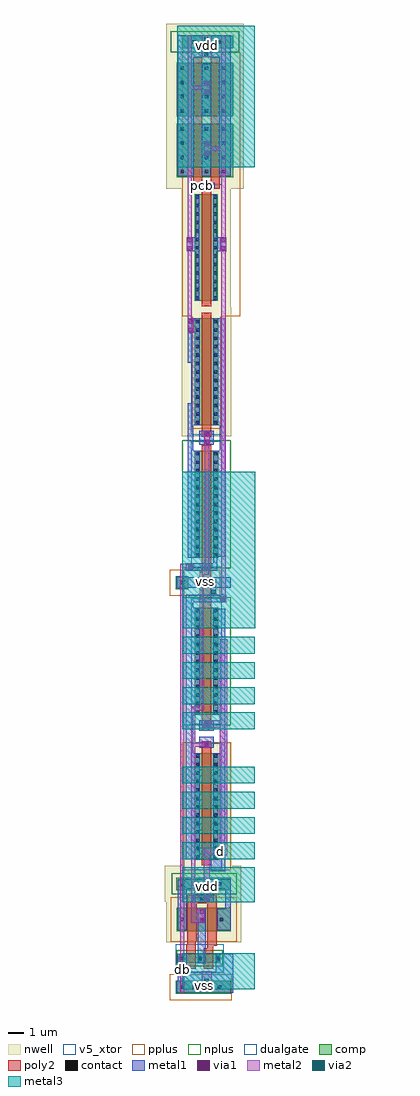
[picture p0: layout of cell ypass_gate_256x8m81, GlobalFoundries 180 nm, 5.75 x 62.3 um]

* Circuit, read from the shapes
.subckt ypass_gate_256x8m81 b bb d db pcb vdd vss ypass
XM1 nmos_5p0431059087811_256x8m81_23/D ypass vss vss nfet_05v0 w=0.57u l=0.6u m=2
XM2 d ypass b vss nfet_05v0 w=6.81u l=0.6u
XM3 db ypass bb vss nfet_05v0 w=6.81u l=0.6u
XM4 nmos_5p0431059087811_256x8m81_23/D ypass vdd vdd pfet_03v3 w=1.485u l=0.6u m=2
XM5 b pcb vdd vdd pfet_03v3 w=3.41u l=0.6u m=2
XM6 bb pcb vdd vdd pfet_03v3 w=3.41u l=0.6u m=2
XM7 b pcb bb vdd pfet_05v0 w=6.81u l=0.6u
XM8 d nmos_5p0431059087811_256x8m81_23/D b vdd pfet_05v0 w=6.81u l=0.6u
XM9 db nmos_5p0431059087811_256x8m81_23/D bb vdd pfet_05v0 w=6.81u l=0.6u
.ends

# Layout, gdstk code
from math import pi, radians
import gdstk
lib = gdstk.Library(unit=1e-6, precision=1e-09)
def R(c, l, rs):  # rectangles x0, y0, x1, y1
    for r in rs: c.add(gdstk.rectangle(r[:2], r[2:], *l))
def A(c, l, x, y, w, h, nx, ny, dx, dy):  # array of equal rectangles
    R(c, l, [(x+i*dx, y+j*dy, x+i*dx+w, y+j*dy+h) for i in range(nx) for j in range(ny)])
def P(c, l, *ps):  # polygons
    for p in ps: c.add(gdstk.Polygon(p, *l))
nwell = (21, 0)
comp = (22, 0)
poly2 = (30, 0)
pplus = (31, 0)
nplus = (32, 0)
contact = (33, 0)
metal1 = (34, 0)
via1 = (35, 0)
metal2 = (36, 0)
via2 = (38, 0)
metal3 = (42, 0)
dualgate = (55, 0)
v5_xtor = (112, 1)

m3_m2431059087811_256x8m = lib.new_cell('M3_M2431059087811_256x8m81')
R(m3_m2431059087811_256x8m, metal2, [(-0.19,-0.45,0.19,0.45)])
R(m3_m2431059087811_256x8m, via2, [(-0.13,-0.39,0.13,-0.13), (-0.13,0.13,0.13,0.39)])
R(m3_m2431059087811_256x8m, metal3, [(-0.19,-0.45,0.19,0.45)])

m2_m14310590878116_256x8 = lib.new_cell('M2_M14310590878116_256x8m81')
R(m2_m14310590878116_256x8, metal1, [(-0.19,-0.19,0.19,0.19)])
R(m2_m14310590878116_256x8, via1, [(-0.13,-0.13,0.13,0.13)])
R(m2_m14310590878116_256x8, metal2, [(-0.19,-0.19,0.19,0.19)])

m2_m14310590878119_256x8 = lib.new_cell('M2_M14310590878119_256x8m81')
R(m2_m14310590878119_256x8, metal1, [(-0.19,-0.45,0.19,0.45)])
R(m2_m14310590878119_256x8, via1, [(-0.13,-0.39,0.13,-0.13), (-0.13,0.13,0.13,0.39)])
R(m2_m14310590878119_256x8, metal2, [(-0.19,-0.45,0.19,0.45)])

m1_poly24310590878126_25 = lib.new_cell('M1_POLY24310590878126_256x8m81')
R(m1_poly24310590878126_25, poly2, [(-0.68,-0.21,0.68,0.21)])
A(m1_poly24310590878126_25, contact, -0.58, -0.11, 0.22, 0.22, 3, 1, 0.47, 0)
R(m1_poly24310590878126_25, metal1, [(-0.64,-0.17,0.64,0.17)])

m1_poly24310590878127_25 = lib.new_cell('M1_POLY24310590878127_256x8m81')
R(m1_poly24310590878127_25, poly2, [(-0.21,-0.21,0.21,0.21)])
R(m1_poly24310590878127_25, contact, [(-0.11,-0.11,0.11,0.11)])
R(m1_poly24310590878127_25, metal1, [(-0.17,-0.17,0.17,0.17)])

pmos_5p0431059087810_256 = lib.new_cell('pmos_5p0431059087810_256x8m81')
R(pmos_5p0431059087810_256, nwell, [(-1.04,-0.6,1.64,7.41)])
R(pmos_5p0431059087810_256, comp, [(-0.44,0,1.04,6.81), (-0.44,0,-0.08,6.81), (0.68,0,1.04,6.81)])
R(pmos_5p0431059087810_256, poly2, [(0,-0.22,0.6,7.03), (0,6.81,0.6,7.03)])
R(pmos_5p0431059087810_256, pplus, [(-0.6,-0.23,1.2,7.04)])
A(pmos_5p0431059087810_256, contact, -0.37, 0.07, 0.22, 0.22, 1, 7, 0, 0.54)
A(pmos_5p0431059087810_256, contact, 0.75, 0.07, 0.22, 0.22, 1, 7, 0, 0.54)
A(pmos_5p0431059087810_256, contact, -0.37, 3.845, 0.22, 0.22, 1, 6, 0, 0.535)
A(pmos_5p0431059087810_256, contact, 0.75, 3.845, 0.22, 0.22, 1, 6, 0, 0.535)
R(pmos_5p0431059087810_256, metal1, [(-0.375,0,-0.145,6.81), (-0.375,0,-0.145,6.81), (0.745,0,0.975,6.81), (0.745,0,0.975,6.81)])
R(pmos_5p0431059087810_256, dualgate, [(-0.68,-0.62,1.28,7.43)])
R(pmos_5p0431059087810_256, v5_xtor, [(-0.68,-0.62,1.28,7.43)])
pmos_5p0431059087810_256.add(gdstk.Label('S', (-0.26,3.405), layer=34, texttype=0))
pmos_5p0431059087810_256.add(gdstk.Label('D', (0.86,3.405), layer=34, texttype=0))

pmos_1p2__46889004_256x8 = lib.new_cell('pmos_1p2$$46889004_256x8m81')
R(pmos_1p2__46889004_256x8, nwell, [(-1.43,-0.71,1.715,7.51)])
R(pmos_1p2__46889004_256x8, poly2, [(-0.155,-0.37,0.445,-0.005), (-0.155,6.805,0.445,7.165)])
R(pmos_1p2__46889004_256x8, pplus, [(-1.145,-0.685,1.43,7.485)])
pmos_1p2__46889004_256x8.add(gdstk.Reference(pmos_5p0431059087810_256, (-0.155,0)))

m1_nwell__47121452_256x8 = lib.new_cell('M1_NWELL$$47121452_256x8m81')
R(m1_nwell__47121452_256x8, nwell, [(-2.29,-1.14,2.29,1.14)])
R(m1_nwell__47121452_256x8, comp, [(-1.575,-0.4,1.575,0.4)])
R(m1_nwell__47121452_256x8, nplus, [(-1.84,-0.675,1.84,0.675)])
A(m1_nwell__47121452_256x8, contact, -1.295, -0.11, 0.22, 0.22, 4, 1, 0.79, 0)
R(m1_nwell__47121452_256x8, metal1, [(-1.475,-0.3,1.475,0.3)])

m1_psub__45111340_256x8m = lib.new_cell('M1_PSUB$$45111340_256x8m81')
R(m1_psub__45111340_256x8m, comp, [(-0.4,-0.415,0.4,0.415)])
R(m1_psub__45111340_256x8m, pplus, [(-0.795,-0.82,0.795,0.82)])
R(m1_psub__45111340_256x8m, contact, [(-0.11,-0.11,0.11,0.11)])
R(m1_psub__45111340_256x8m, metal1, [(-0.355,-0.37,0.355,0.37)])

nmos_5p0431059087811_256 = lib.new_cell('nmos_5p0431059087811_256x8m81')
A(nmos_5p0431059087811_256, comp, -0.44, 0, 0.36, 0.57, 3, 1, 1.12, 0)
R(nmos_5p0431059087811_256, comp, [(-0.44,0,2.16,0.57)])
R(nmos_5p0431059087811_256, poly2, [(0,-0.22,0.6,0.79), (1.12,-0.22,1.72,0.79), (0,0.57,0.6,0.79), (1.12,0.57,1.72,0.79)])
R(nmos_5p0431059087811_256, nplus, [(-0.6,-0.23,2.32,0.8)])
A(nmos_5p0431059087811_256, contact, -0.37, 0.175, 0.22, 0.22, 3, 1, 1.12, 0)
R(nmos_5p0431059087811_256, metal1, [(-0.375,0,-0.145,0.57), (-0.375,0,-0.145,0.57), (0.745,0,0.975,0.57), (0.745,0,0.975,0.57), (1.865,0,2.095,0.57), (1.865,0,2.095,0.57)])
R(nmos_5p0431059087811_256, dualgate, [(-0.68,-0.62,2.4,1.19)])
R(nmos_5p0431059087811_256, v5_xtor, [(-0.68,-0.62,2.4,1.19)])
nmos_5p0431059087811_256.add(gdstk.Label('S', (-0.26,0.285), layer=34, texttype=0))
nmos_5p0431059087811_256.add(gdstk.Label('S', (1.98,0.285), layer=34, texttype=0))
nmos_5p0431059087811_256.add(gdstk.Label('D', (0.86,0.285), layer=34, texttype=0))

via2_r90_256x8m81 = lib.new_cell('via2_R90_256x8m81')
P(via2_r90_256x8m81, metal2, [(0,-0.005),(0,0.27),(-0.005,0.27),(-0.005,0.33),(0,0.33),(0,0.635),(0.465,0.635),(0.465,-0.005)])
R(via2_r90_256x8m81, via2, [(0.1,0.2,0.36,0.46)])
R(via2_r90_256x8m81, metal3, [(0,-0.005,0.465,0.64)])

via1_r90_256x8m81 = lib.new_cell('via1_R90_256x8m81')
R(via1_r90_256x8m81, metal1, [(0,0,0.465,0.64)])
R(via1_r90_256x8m81, via1, [(0.1,0.2,0.36,0.46)])
R(via1_r90_256x8m81, metal2, [(0,0,0.465,0.635)])

via1_2_256x8m81 = lib.new_cell('via1_2_256x8m81')
via1_2_256x8m81.add(gdstk.Reference(via2_r90_256x8m81, (0,0)))
via1_2_256x8m81.add(gdstk.Reference(via1_r90_256x8m81, (0,0)))

m1_nwell__46277676_256x8 = lib.new_cell('M1_NWELL$$46277676_256x8m81')
R(m1_nwell__46277676_256x8, nwell, [(-1.895,-1.14,1.895,1.14)])
R(m1_nwell__46277676_256x8, comp, [(-1.18,-0.4,1.18,0.4)])
R(m1_nwell__46277676_256x8, nplus, [(-1.445,-0.675,1.445,0.675)])
A(m1_nwell__46277676_256x8, contact, -0.9, -0.11, 0.22, 0.22, 3, 1, 0.79, 0)
R(m1_nwell__46277676_256x8, metal1, [(-1.08,-0.3,1.08,0.3)])

nmos_5p0431059087812_256 = lib.new_cell('nmos_5p0431059087812_256x8m81')
R(nmos_5p0431059087812_256, comp, [(-0.44,0,1.04,6.81), (-0.44,0,-0.08,6.81), (0.68,0,1.04,6.81)])
R(nmos_5p0431059087812_256, poly2, [(0,-0.22,0.6,7.03), (0,6.81,0.6,7.03)])
R(nmos_5p0431059087812_256, nplus, [(-0.6,-0.23,1.2,7.04)])
A(nmos_5p0431059087812_256, contact, -0.37, 0.07, 0.22, 0.22, 1, 7, 0, 0.54)
A(nmos_5p0431059087812_256, contact, 0.75, 0.07, 0.22, 0.22, 1, 7, 0, 0.54)
A(nmos_5p0431059087812_256, contact, -0.37, 3.845, 0.22, 0.22, 1, 6, 0, 0.535)
A(nmos_5p0431059087812_256, contact, 0.75, 3.845, 0.22, 0.22, 1, 6, 0, 0.535)
R(nmos_5p0431059087812_256, metal1, [(-0.375,0,-0.145,6.81), (-0.375,0,-0.145,6.81), (0.745,0,0.975,6.81), (0.745,0,0.975,6.81)])
R(nmos_5p0431059087812_256, dualgate, [(-0.68,-0.62,1.28,7.43)])
R(nmos_5p0431059087812_256, v5_xtor, [(-0.68,-0.62,1.28,7.43)])
nmos_5p0431059087812_256.add(gdstk.Label('S', (-0.26,3.405), layer=34, texttype=0))
nmos_5p0431059087812_256.add(gdstk.Label('D', (0.86,3.405), layer=34, texttype=0))

nmos_1p2__47119404_256x8 = lib.new_cell('nmos_1p2$$47119404_256x8m81')
R(nmos_1p2__47119404_256x8, poly2, [(-0.155,-0.37,0.445,-0.005), (-0.155,6.805,0.445,7.17)])
R(nmos_1p2__47119404_256x8, nplus, [(-1.145,-0.685,1.43,7.485)])
nmos_1p2__47119404_256x8.add(gdstk.Reference(nmos_5p0431059087812_256, (-0.155,0)))

m1_psub__47122476_256x8m = lib.new_cell('M1_PSUB$$47122476_256x8m81')
R(m1_psub__47122476_256x8m, comp, [(-1.585,-0.415,1.585,0.41)])
R(m1_psub__47122476_256x8m, pplus, [(-1.98,-0.82,1.98,0.82)])
A(m1_psub__47122476_256x8m, contact, -1.295, -0.11, 0.22, 0.22, 4, 1, 0.79, 0)
R(m1_psub__47122476_256x8m, metal1, [(-1.54,-0.37,1.54,0.37)])

ypass_gate_256x8m81 = lib.new_cell('ypass_gate_256x8m81')
R(ypass_gate_256x8m81, nwell, [(-0.025,35.54,3.12,43.76), (-0.035,43.475,3.11,51.695), (-1.015,51.33,3.935,61.85)])
P(ypass_gate_256x8m81, nwell, [(-1.015,3.24),(-1.015,6.125),(-0.025,6.125),(-0.025,8.1),(3.78,8.1),(3.78,3.24)])
R(ypass_gate_256x8m81, comp, [(2.76,-0.05,3.1,0.775), (-0.335,3.94,3.1,5.425), (2.75,6.56,3.1,7.36), (-0.335,52.08,3.25,55.49), (-0.335,55.955,3.25,59.365), (-0.005,60.31,3.25,61.11)])
R(ypass_gate_256x8m81, poly2, [(0.26,1.55,0.86,1.91), (1.38,1.55,1.98,1.91), (0.26,2.485,0.85,2.49), (1.25,15.495,1.85,16.055), (1.25,17.02,1.85,17.58), (1.25,24.84,1.845,27.525), (1.25,35.495,1.85,35.985), (1.25,35.885,1.85,36.245), (1.25,43.055,1.85,43.42), (1.24,43.82,1.84,44.18), (1.24,50.99,1.84,51.355)])
P(ypass_gate_256x8m81, poly2, [(0.26,2.695),(0.26,3.06),(0.335,3.06),(0.335,6.22),(2.195,6.22),(2.195,3.005),(1.98,3.005),(1.98,2.695),(1.38,2.695),(1.38,2.85),(1.595,2.85),(1.595,5.725),(0.935,5.725),(0.935,3.305),(0.86,3.305),(0.86,2.695)],
  [(0.69,51.34),(0.69,59.73),(1.29,59.73),(1.29,51.76),(1.81,51.76),(1.81,59.73),(2.41,59.73),(2.41,51.34)])
R(ypass_gate_256x8m81, pplus, [(-0.73,3.26,3.495,6.105), (-0.005,7.815,3.1,15.985), (0.48,25.365,2.415,27.005), (0,43.18,3.705,60.035)])
R(ypass_gate_256x8m81, nplus, [(3.005,6.285,3.495,7.635), (-0.005,17.09,3.1,25.26), (-0.005,27.11,3.1,35.28), (-0.73,60.035,3.645,61.385)])
A(ypass_gate_256x8m81, contact, -0.11, 53.225, 0.22, 0.22, 1, 3, 0, 0.905)
A(ypass_gate_256x8m81, contact, 1.44, 53.225, 0.22, 0.22, 1, 3, 0, 0.905)
A(ypass_gate_256x8m81, contact, 2.57, 53.225, 0.22, 0.22, 1, 3, 0, 0.905)
R(ypass_gate_256x8m81, contact, [(-0.11,4.575,0.11,4.795), (1.155,4.575,1.375,4.795), (2.405,4.575,2.625,4.795), (-0.11,52.315,0.11,52.535), (1.44,52.315,1.66,52.535), (2.57,52.315,2.79,52.535), (-0.11,56.19,0.11,56.41), (1.44,56.19,1.66,56.41), (2.57,56.19,2.79,56.41), (-0.11,57.1,0.11,57.32), (1.44,57.1,1.66,57.32), (2.57,57.1,2.79,57.32), (-0.11,58.005,0.11,58.225), (1.44,58.005,1.66,58.225), (2.57,58.005,2.79,58.225), (-0.11,58.915,0.11,59.135), (1.44,58.915,1.66,59.135), (2.57,58.915,2.79,59.135)])
R(ypass_gate_256x8m81, metal1, [(0.975,1.9,1.515,5.38), (0.68,5.775,2.02,6.26), (1.095,15.66,2,16.34), (1.095,16.74,2,17.415), (-0.355,25.86,3.1,26.53), (1.095,34.975,2,35.89), (0.29,47.35,1.095,48.25), (1.985,47.35,2.82,48.25), (1.26,52.125,1.835,55.445), (1.26,56,1.835,59.32)])
P(ypass_gate_256x8m81, metal1, [(2.215,27.835),(2.215,34.595),(2.395,34.595),(2.395,36.24),(2.165,36.24),(2.165,43.05),(2.745,43.05),(2.745,27.835)],
  [(0.35,27.785),(0.35,37.625),(0.57,37.625),(0.57,40.225),(0.35,40.225),(0.35,43.05),(0.885,43.05),(0.885,36.24),(0.705,36.24),(0.705,34.595),(0.92,34.595),(0.92,27.785)],
  [(0.225,26.95),(0.225,27.435),(1.995,27.435),(1.995,28.285),(2.225,28.285),(2.225,26.95)],
  [(0.24,8.54),(0.24,25.42),(2.825,25.42),(2.825,24.935),(0.705,24.935),(0.705,24.575),(0.94,24.575),(0.94,17.84),(0.96,17.84),(0.96,17.765),(0.705,17.765),(0.705,15.3),(0.905,15.3),(0.905,8.54)],
  [(1.82,7.77),(1.82,8.55),(2.175,8.55),(2.175,15.3),(2.395,15.3),(2.395,17.765),(2.215,17.765),(2.215,24.535),(2.745,24.535),(2.745,7.77)],
  [(2.23,3.985),(2.23,5.38),(2.745,5.38),(2.745,6.66),(2.65,6.66),(2.65,7.26),(3.1,7.26),(3.1,3.985)],
  [(-0.285,3.985),(-0.285,6.66),(-0.29,6.66),(-0.29,7.26),(0.29,7.26),(0.29,6.66),(0.285,6.66),(0.285,3.985)],
  [(-0.29,-0.005),(-0.29,1.355),(-0.285,1.355),(-0.285,2.5),(0.285,2.5),(0.285,1.355),(2.125,1.355),(2.125,2.5),(3.245,2.5),(3.245,-0.005)],
  [(-0.29,52.125),(-0.29,61.135),(3.1,61.135),(3.1,52.125),(2.36,52.125),(2.36,59.72),(0.735,59.72),(0.735,52.125)])
R(ypass_gate_256x8m81, metal2, [(1.23,0.245,1.87,1.39), (0.705,4.48,1.45,5.38), (0,27.005,0.695,27.385), (1.23,59.72,1.87,61.135)])
P(ypass_gate_256x8m81, metal2, [(1.37,5.775),(1.37,9.265),(2.405,9.265),(2.405,16.93),(1.25,16.93),(1.25,17.415),(2.405,17.415),(2.405,22.585),(2.865,22.585),(2.865,8.78),(1.75,8.78),(1.75,5.775)])
A(ypass_gate_256x8m81, metal3, -0.005, 8.54, 4.65, 1.075, 1, 4, 0, 1.61)
R(ypass_gate_256x8m81, metal3, [(-0.005,0.245,4.645,2.52), (-0.005,5.8,4.645,8.01), (-0.005,16.83,4.645,17.905), (-0.005,18.44,4.645,19.515), (-0.005,20.045,4.645,21.12), (-0.005,21.655,4.645,22.73), (-0.005,23.285,4.65,33.28), (-0.325,52.69,4.645,61.735)])
ypass_gate_256x8m81.add(gdstk.FlexPath([(1.58,35.525),(1.58,26.845),(1.245,26.845),(1.245,18.135),(0.705,18.135),(0.705,15.845)], 0.28, ends=(0, 0.14), simple_path=True, layer=36, datatype=0))  # metal2
ypass_gate_256x8m81.add(gdstk.FlexPath([(0.705,4.48),(0.705,15.845),(1.66,15.845)], 0.28, ends="flush", simple_path=True, layer=36, datatype=0))  # metal2
ypass_gate_256x8m81.add(gdstk.FlexPath([(1.685,57.78),(0.48,57.78)], 0.28, ends="flush", simple_path=True, layer=36, datatype=0))  # metal2
ypass_gate_256x8m81.add(gdstk.FlexPath([(2.63,61.125),(2.63,24.975)], 0.28, ends="flush", simple_path=True, layer=36, datatype=0))  # metal2
ypass_gate_256x8m81.add(gdstk.FlexPath([(2.63,53.9),(1.425,53.9)], 0.28, ends="flush", simple_path=True, layer=36, datatype=0))  # metal2
ypass_gate_256x8m81.add(gdstk.FlexPath([(0.48,61.125),(0.48,42.15)], 0.28, ends="flush", simple_path=True, layer=36, datatype=0))  # metal2
ypass_gate_256x8m81.add(gdstk.FlexPath([(0,27.385),(0,-0.005)], 0.28, ends="flush", simple_path=True, layer=36, datatype=0))  # metal2
ypass_gate_256x8m81.add(gdstk.Reference(m3_m2431059087811_256x8m, (1.97,25.88)))
ypass_gate_256x8m81.add(gdstk.Reference(m2_m14310590878116_256x8, (2.63,25.165)))
ypass_gate_256x8m81.add(gdstk.Reference(m2_m14310590878116_256x8, (1.55,15.845)))
ypass_gate_256x8m81.add(gdstk.Reference(m2_m14310590878116_256x8, (1.56,6.005)))
ypass_gate_256x8m81.add(gdstk.Reference(m2_m14310590878116_256x8, (0.505,27.195)))
ypass_gate_256x8m81.add(gdstk.Reference(m2_m14310590878116_256x8, (1.97,26.205)))
ypass_gate_256x8m81.add(gdstk.Reference(m2_m14310590878119_256x8, (2.63,47.8)))
ypass_gate_256x8m81.add(gdstk.Reference(m2_m14310590878119_256x8, (1.58,35.44)))
ypass_gate_256x8m81.add(gdstk.Reference(m2_m14310590878119_256x8, (1.26,4.93)))
ypass_gate_256x8m81.add(gdstk.Reference(m2_m14310590878119_256x8, (0.54,42.6)))
ypass_gate_256x8m81.add(gdstk.Reference(m2_m14310590878119_256x8, (0.48,47.8)))
ypass_gate_256x8m81.add(gdstk.Reference(m2_m14310590878119_256x8, (1.555,57.775)))
ypass_gate_256x8m81.add(gdstk.Reference(m2_m14310590878119_256x8, (1.555,53.9)))
ypass_gate_256x8m81.add(gdstk.Reference(m1_poly24310590878126_25, (1.435,51.55)))
ypass_gate_256x8m81.add(gdstk.Reference(m1_poly24310590878127_25, (1.58,35.705)))
ypass_gate_256x8m81.add(gdstk.Reference(m1_poly24310590878127_25, (1.265,6.01)))
ypass_gate_256x8m81.add(gdstk.Reference(m1_poly24310590878127_25, (1.55,15.845)))
ypass_gate_256x8m81.add(gdstk.Reference(m1_poly24310590878127_25, (1.55,17.23)))
ypass_gate_256x8m81.add(gdstk.Reference(pmos_5p0431059087810_256, (1.25,43.05), x_reflection=True))
ypass_gate_256x8m81.add(gdstk.Reference(pmos_5p0431059087810_256, (1.24,50.985), x_reflection=True))
ypass_gate_256x8m81.add(gdstk.Reference(pmos_1p2__46889004_256x8, (1.405,15.3), x_reflection=True))
ypass_gate_256x8m81.add(gdstk.Reference(m1_nwell__47121452_256x8, (1.185,6.96)))
ypass_gate_256x8m81.add(gdstk.Reference(m1_psub__45111340_256x8m, (0,26.185)))
ypass_gate_256x8m81.add(gdstk.Reference(nmos_5p0431059087811_256, (0.26,1.915)))
ypass_gate_256x8m81.add(gdstk.Reference(via2_r90_256x8m81, (1.865,60.655), rotation=pi/2))
ypass_gate_256x8m81.add(gdstk.Reference(via2_r90_256x8m81, (1.865,59.725), rotation=pi/2))
ypass_gate_256x8m81.add(gdstk.Reference(via1_r90_256x8m81, (1.865,59.725), rotation=pi/2))
ypass_gate_256x8m81.add(gdstk.Reference(via1_r90_256x8m81, (1.865,60.655), rotation=pi/2))
ypass_gate_256x8m81.add(gdstk.Reference(via1_r90_256x8m81, (1.89,16.935), rotation=pi/2))
ypass_gate_256x8m81.add(gdstk.Reference(via1_2_256x8m81, (1.32,0.44)))
ypass_gate_256x8m81.add(gdstk.Reference(m1_nwell__46277676_256x8, (1.55,60.71)))
ypass_gate_256x8m81.add(gdstk.Reference(nmos_1p2__47119404_256x8, (1.405,34.595), x_reflection=True))
ypass_gate_256x8m81.add(gdstk.Reference(nmos_1p2__47119404_256x8, (1.405,24.575), x_reflection=True))
ypass_gate_256x8m81.add(gdstk.Reference(m1_psub__47122476_256x8m, (1.185,0.365)))
ypass_gate_256x8m81.add(gdstk.Label('d', (2.46,9.025), layer=34, texttype=10))
ypass_gate_256x8m81.add(gdstk.Label('pcb', (1.295,51.56), layer=34, texttype=10))
ypass_gate_256x8m81.add(gdstk.Label('vdd', (1.59,6.78), layer=34, texttype=10))
ypass_gate_256x8m81.add(gdstk.Label('vss', (1.395,0.455), layer=42, texttype=10))
ypass_gate_256x8m81.add(gdstk.Label('vdd', (1.59,60.47), layer=42, texttype=10))
ypass_gate_256x8m81.add(gdstk.Label('vss', (1.515,26.275), layer=42, texttype=10))
ypass_gate_256x8m81.add(gdstk.Label('b', (2.59,59.655), layer=36, texttype=10))
ypass_gate_256x8m81.add(gdstk.Label('bb', (0.525,59.655), layer=36, texttype=10))
ypass_gate_256x8m81.add(gdstk.Label('db', (0,1.52), layer=36, texttype=10))
ypass_gate_256x8m81.add(gdstk.Label('ypass', (1.425,6.11), layer=36, texttype=10))

lib.write_gds('ypass_gate_256x8m81.gds')
